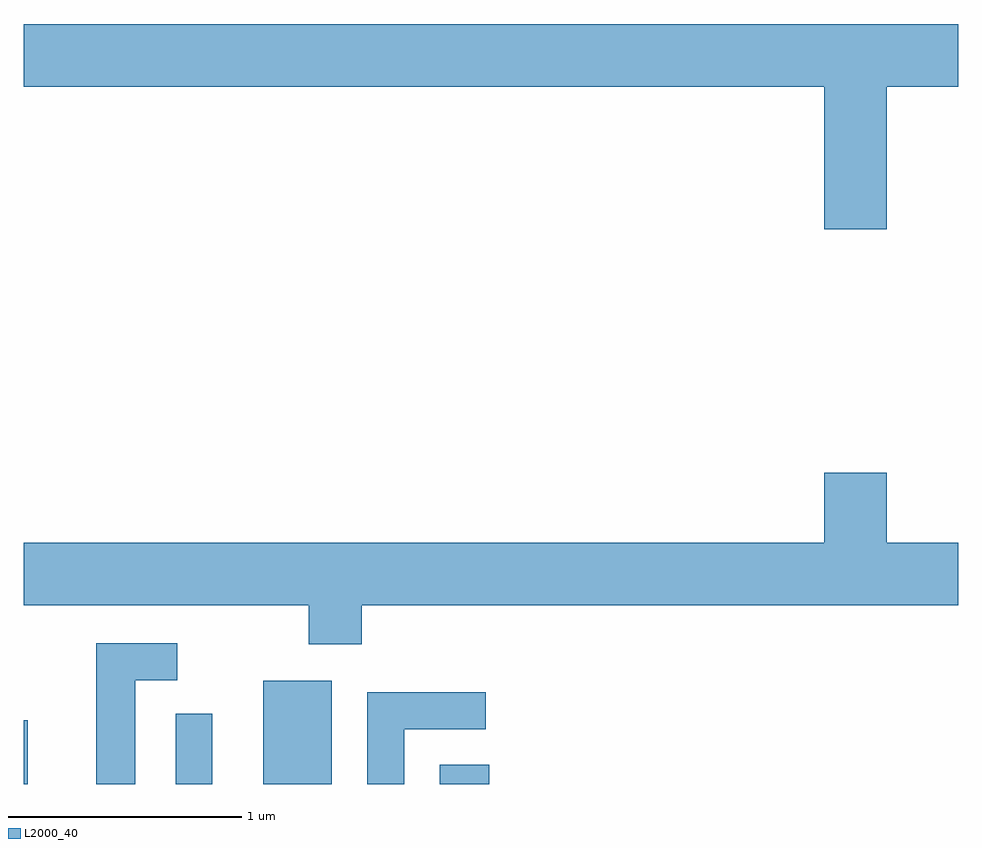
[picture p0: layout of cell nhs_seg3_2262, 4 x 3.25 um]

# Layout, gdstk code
import gdstk
lib = gdstk.Library(unit=1e-6, precision=1e-09)
def R(c, l, rs):  # rectangles x0, y0, x1, y1
    for r in rs: c.add(gdstk.rectangle(r[:2], r[2:], *l))
def P(c, l, *ps):  # polygons
    for p in ps: c.add(gdstk.Polygon(p, *l))
L2000_40 = (2000, 40)

nhs_seg3_2262 = lib.new_cell('nhs_seg3_2262')
R(nhs_seg3_2262, L2000_40, [(251.611,1151.892,251.629,1152.164), (252.261,1151.892,252.419,1152.193), (252.636,1151.892,252.929,1152.334), (253.391,1151.892,253.604,1151.974)])
P(nhs_seg3_2262, L2000_40, [(255.304,1154.876),(255.611,1154.876),(255.611,1155.144),(251.611,1155.144),(251.611,1154.876),(255.036,1154.876),(255.036,1154.266),(255.304,1154.266)],
  [(253.059,1152.656),(255.611,1152.656),(255.611,1152.924),(255.304,1152.924),(255.304,1153.224),(255.036,1153.224),(255.036,1152.924),(251.611,1152.924),(251.611,1152.656),(252.831,1152.656),(252.831,1152.491),(253.059,1152.491)],
  [(252.089,1152.336),(252.268,1152.336),(252.268,1152.494),(251.921,1152.494),(251.921,1151.892),(252.089,1151.892)],
  [(253.239,1152.126),(253.588,1152.126),(253.588,1152.284),(253.081,1152.284),(253.081,1151.892),(253.239,1151.892)])

lib.write_gds('nhs_seg3_2262.gds')
